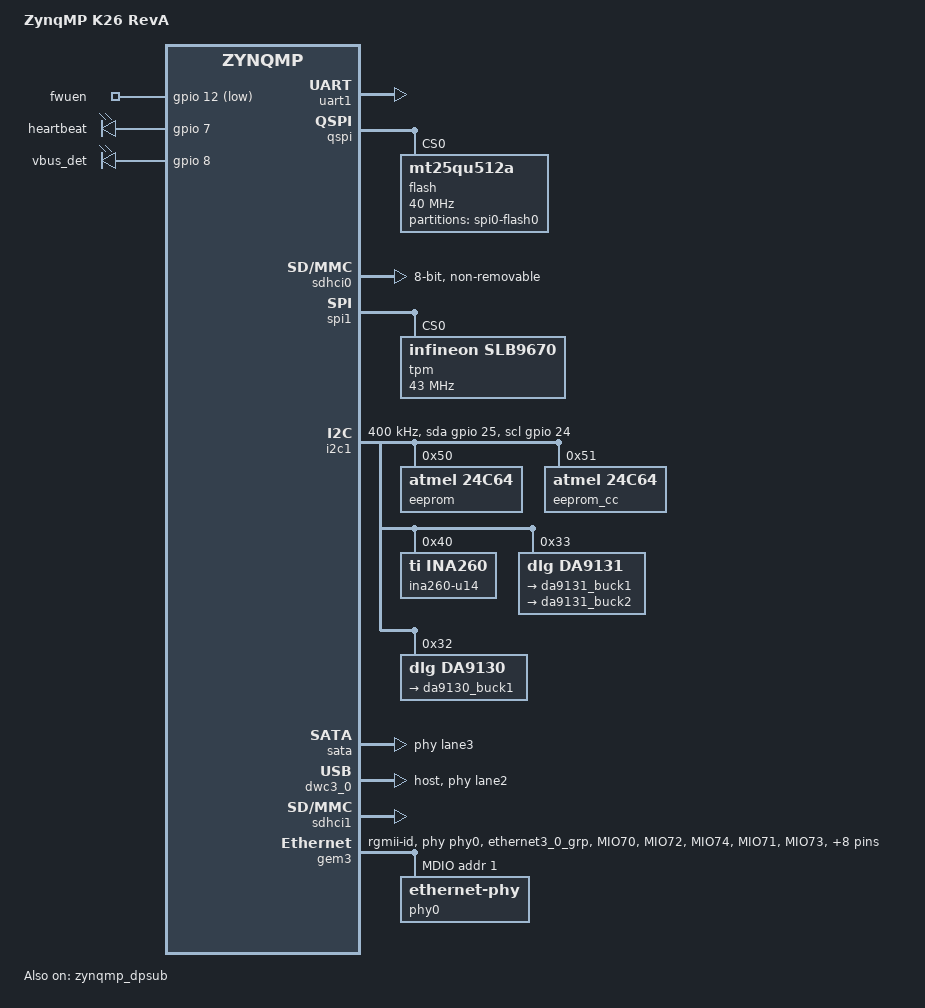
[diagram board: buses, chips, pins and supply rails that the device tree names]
// SPDX-License-Identifier: GPL-2.0
/*
 * dts file for Xilinx ZynqMP K26 revA
 *
 * (C) Copyright 2020, Xilinx, Inc.
 *
 * Michal Simek <michal.simek@xilinx.com>
 */

#include "include/dt-bindings/input/input.h"
#include "include/dt-bindings/gpio/gpio.h"
#include "include/dt-bindings/phy/phy.h"
#include "include/dt-bindings/pinctrl/pinctrl-zynqmp.h"

/ {
	model = "ZynqMP K26 RevA";
	compatible = "xlnx,zynqmp-sm-k26-revA", "xlnx,zynqmp-sm-k26", "xlnx,zynqmp";

	aliases {
		gpio0 = &gpio;
		i2c0 = &i2c0;
		i2c1 = &i2c1;
		mmc0 = &sdhci0;
		mmc1 = &sdhci1;
		rtc0 = &rtc;
		serial0 = &uart0;
		serial1 = &uart1;
		serial2 = &dcc;
		spi0 = &qspi;
		spi1 = &spi0;
		spi2 = &spi1;
		usb0 = &usb0;
		usb1 = &usb1;
		nvmem0 = &eeprom;
		nvmem1 = &eeprom_cc;
	};

	chosen {
		bootargs = "earlycon";
		stdout-path = "serial1:115200n8";
	};

	gpio-keys {
		compatible = "gpio-keys";
		autorepeat;
		fwuen {
			label = "fwuen";
			gpios = <&gpio 12 GPIO_ACTIVE_LOW>;
		};
	};

	leds {
		compatible = "gpio-leds";
		ds35 {
			label = "heartbeat";
			gpios = <&gpio 7 GPIO_ACTIVE_HIGH>;
			linux,default-trigger = "heartbeat";
		};

		ds36 {
			label = "vbus_det";
			gpios = <&gpio 8 GPIO_ACTIVE_HIGH>;
			default-state = "on";
		};
	};
};

&uart1 { /* MIO37/MIO38 */
	status = "okay";
};

&qspi { /* MIO 0-5 - U143 */
	status = "okay";
	flash@0 { /* MT25QU512A */
		compatible = "mt25qu512a", "jedec,spi-nor"; /* 64MB */
		#address-cells = <1>;
		#size-cells = <1>;
		reg = <0>;
		spi-tx-bus-width = <1>;
		spi-rx-bus-width = <4>;
		spi-max-frequency = <40000000>; /* 40MHz */
		partition@0 {
			label = "spi0-flash0";
			reg = <0x0 0x40000000>;
		};
	};
};

&sdhci0 { /* MIO13-23 - 16GB emmmc MTFC16GAPALBH-IT - U133A*/
	status = "okay";
	non-removable;
	disable-wp;
	bus-width = <8>;
	xlnx,mio-bank = <0>;
};

&spi1 { /* MIO6, 9-11 */
	status = "okay";
	label = "TPM";
	num-cs = <1>;
	tpm@0 { /* slm9670 - U144 */
		compatible = "infineon,slb9670", "tcg,tpm_tis-spi";
		reg = <0>;
		spi-max-frequency = <43000000>;
	};
};

&i2c1 {
	status = "okay";
	clock-frequency = <400000>;
	scl-gpios = <&gpio 24 GPIO_ACTIVE_HIGH>;
	sda-gpios = <&gpio 25 GPIO_ACTIVE_HIGH>;
	
	eeprom: eeprom@50 { /* u46 */
		compatible = "atmel,24c64";
		reg = <0x50>;
		/* WP pin EE_WP_EN connected to slg7x644092@68 */
	};

	eeprom_cc: eeprom@51 { /* required by spec */
		compatible = "atmel,24c64";
		reg = <0x51>;
	};
	
	u14: ina260@40 { /* u14 */
		compatible = "ti,ina260";
		#io-channel-cells = <1>;
		label = "ina260-u14";
		reg = <0x40>;
	};
	/* u27 - 0xe0 - STDP4320 DP/HDMI splitter */

	/* da9062@60 - u170 - also at address 0x62 */
	/* da9131@33 - u167 */
	da9131: pmic@33 {
		compatible = "dlg,da9131";
		reg = <0x33>;
		regulators {
			da9131_buck1: buck1 {
				regulator-name = "BUCK1";
				regulator-boot-on;
			};
			da9131_buck2: buck2 {
				regulator-name = "BUCK2";
				regulator-boot-on;
			};
		};
	};

	/* da9130@32 - u166 */
	da9130: pmic@32 {
		compatible = "dlg,da9130";
		reg = <0x32>;
		regulators {
			da9130_buck1: buck1 {
				regulator-name = "BUCK1";
				regulator-boot-on;
			};
		};
	};
	/* slg7x644091@70 - u168 */
	/* slg7x644092@68 - u169 */
	/* Also connected via JA1C as C23/C24 */
};

&gpio {
	status = "okay";
	gpio-line-names = "QSPI_CLK", "QSPI_DQ1", "QSPI_DQ2", "QSPI_DQ3", "QSPI_DQ0", /* 0 - 4 */
			  "QSPI_CS_B", "SPI_CLK", "LED1", "LED2", "SPI_CS_B", /* 5 - 9 */
			  "SPI_MISO", "SPI_MOSI", "FWUEN", "EMMC_DAT0", "EMMC_DAT1", /* 10 - 14 */
			  "EMMC_DAT2", "EMMC_DAT3", "EMMC_DAT4", "EMMC_DAT5", "EMMC_DAT6", /* 15 - 19 */
			  "EMMC_DAT7", "EMMC_CMD", "EMMC_CLK", "EMMC_RST", "I2C1_SCL", /* 20 - 24 */
			  "I2C1_SDA", "", "", "", "", /* 25 - 29 */
			  "", "", "", "", "", /* 30 - 34 */
			  "", "", "", "", "", /* 35 - 39 */
			  "", "", "", "", "", /* 40 - 44 */
			  "", "", "", "", "", /* 45 - 49 */
			  "", "", "", "", "", /* 50 - 54 */
			  "", "", "", "", "", /* 55 - 59 */
			  "", "", "", "", "", /* 60 - 64 */
			  "", "", "", "", "", /* 65 - 69 */
			  "", "", "", "", "", /* 70 - 74 */
			  "", "", "", /* 75 - 77, MIO end and EMIO start */
			  "", "", /* 78 - 79 */
			  "", "", "", "", "", /* 80 - 84 */
			  "", "", "", "", "", /* 85 - 89 */
			  "", "", "", "", "", /* 90 - 94 */
			  "", "", "", "", "", /* 95 - 99 */
			  "", "", "", "", "", /* 100 - 104 */
			  "", "", "", "", "", /* 105 - 109 */
			  "", "", "", "", "", /* 110 - 114 */
			  "", "", "", "", "", /* 115 - 119 */
			  "", "", "", "", "", /* 120 - 124 */
			  "", "", "", "", "", /* 125 - 129 */
			  "", "", "", "", "", /* 130 - 134 */
			  "", "", "", "", "", /* 135 - 139 */
			  "", "", "", "", "", /* 140 - 144 */
			  "", "", "", "", "", /* 145 - 149 */
			  "", "", "", "", "", /* 150 - 154 */
			  "", "", "", "", "", /* 155 - 159 */
			  "", "", "", "", "", /* 160 - 164 */
			  "", "", "", "", "", /* 165 - 169 */
			  "", "", "", ""; /* 170 - 174 */
};

&sata {
	status = "okay";
	/* SATA OOB timing settings */
	ceva,p0-cominit-params = /bits/ 8 <0x18 0x40 0x18 0x28>;
	ceva,p0-comwake-params = /bits/ 8 <0x06 0x14 0x08 0x0E>;
	ceva,p0-burst-params = /bits/ 8 <0x13 0x08 0x4A 0x06>;
	ceva,p0-retry-params = /bits/ 16 <0x96A4 0x3FFC>;
	ceva,p1-cominit-params = /bits/ 8 <0x18 0x40 0x18 0x28>;
	ceva,p1-comwake-params = /bits/ 8 <0x06 0x14 0x08 0x0E>;
	ceva,p1-burst-params = /bits/ 8 <0x13 0x08 0x4A 0x06>;
	ceva,p1-retry-params = /bits/ 16 <0x96A4 0x3FFC>;
	phy-names = "sata-phy";
	phys = <&lane3 PHY_TYPE_SATA 1 2 125000000>;
};

&zynqmp_dpsub {
	status = "okay";
	phy-names = "dp-phy0", "dp-phy1";
	phys = <&lane1 PHY_TYPE_DP 0 0 27000000>, <&lane0 PHY_TYPE_DP 1 0 27000000>;
};

&dwc3_0 {
	status = "okay";
	dr_mode = "host";
	snps,usb3_lpm_capable;
	phy-names = "usb3-phy";
	phys = <&lane2 PHY_TYPE_USB3 0 1 26000000>;
	maximum-speed = "super-speed";	
};

&sdhci1 {
	status = "okay";
	/*
	 * SD 3.0 requires level shifter and this property
	 * should be removed if the board has level shifter and
	 * need to work in UHS mode
	 */
	no-1-8-v;
	disable-wp;
	xlnx,mio-bank = <0>;
};

&pinctrl0 {
	status = "okay";
	pinctrl_gem3_default: gem3-default {
		mux {
			function = "ethernet3";
			groups = "ethernet3_0_grp";
		};

		conf {
			groups = "ethernet3_0_grp";
			slew-rate = <SLEW_RATE_SLOW>;
			io-standard = <IO_STANDARD_LVCMOS18>;
		};

		conf-rx {
			pins = "MIO70", "MIO72", "MIO74";
			bias-high-impedance;
			low-power-disable;
		};

		conf-bootstrap {
			pins = "MIO71", "MIO73", "MIO75";
			bias-disable;
			low-power-disable;
		};

		conf-tx {
			pins = "MIO64", "MIO65", "MIO66",
			       "MIO67", "MIO68", "MIO69";
			bias-disable;
			low-power-enable;
		};

		mux-mdio {
			function = "mdio3";
			groups = "mdio3_0_grp";
		};

		conf-mdio {
			groups = "mdio3_0_grp";
			slew-rate = <SLEW_RATE_SLOW>;
			io-standard = <IO_STANDARD_LVCMOS18>;
			bias-disable;
		};
	};
};

&gem3 {
	status = "okay";
	phy-handle = <&phy0>;
	phy-mode = "rgmii-id";
	pinctrl-names = "default";
	pinctrl-0 = <&pinctrl_gem3_default>;

	mdio: mdio {
		#address-cells = <1>;
		#size-cells = <0>;
		reset-gpios = <&gpio 38 GPIO_ACTIVE_LOW>;
		reset-delay-us = <2>;

		phy0: ethernet-phy@1 {
			#phy-cells = <1>;
			reg = <1>;
			ti,rx-internal-delay = <0x8>;
			ti,tx-internal-delay = <0x8>;
			ti,fifo-depth = <0x01>;
			ti,dp83867-rxctrl-strap-quirk;
		};
	};
};
